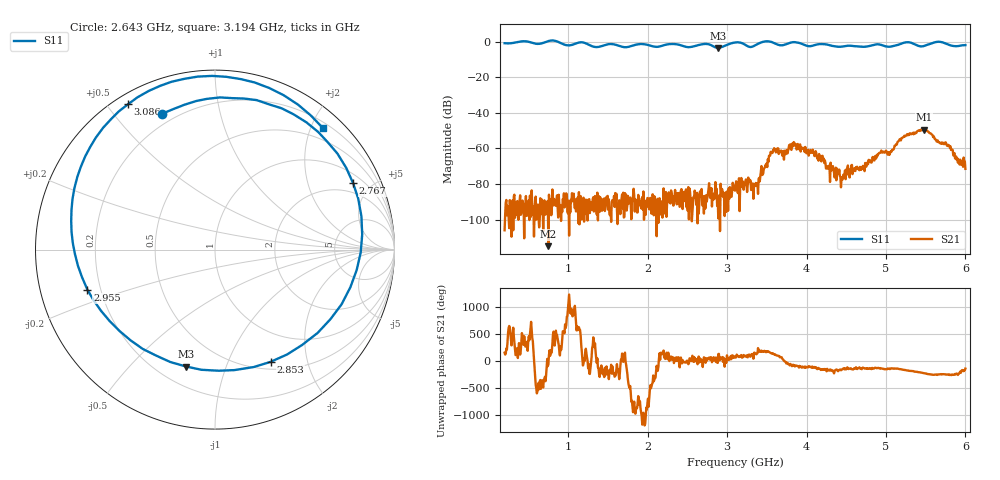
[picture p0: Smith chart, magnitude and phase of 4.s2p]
! NanoVNA-App by OneOfEleven et al v1.1.209 (+OD15)
! Date: 2024-07-30 15:11:33
! Start: 200MHz Stop: 6GHz Points: 801
! S-Parameter data: F S11 S21 S12 S22
# Hz S RI R 50
!  Frequency  S11_Real  S11_Imag  S21_Real  S21_Imag  S12_Real  S12_Imag  S22_Real  S22_Imag
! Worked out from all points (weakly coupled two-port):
!   801 points, 200 MHz to 6 GHz, reference 50 ohm
!   highest |S21| = -49.35 dB at 5.478 GHz (marker M1); lowest = -115.0 dB at 751 MHz (marker M2)
!   lowest |S11| = -3.5 dB at 2.89 GHz (marker M3), VSWR 5.08, Z = 15.5 - j36.7 ohm
!   |S11| at or under -10 dB: nowhere
!   S12 and S22 are empty: the file has one direction only
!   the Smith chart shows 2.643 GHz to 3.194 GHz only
!   S11 on the Smith chart (normalised r, x): 2.643 GHz: 0.15, +0.67; 2.767 GHz: 1.43, +3.90; 2.853 GHz: 0.59, -1.44; 2.955 GHz: 0.15, -0.15; 3.086 GHz: 0.04, +0.57; 3.194 GHz: 0.29, +2.19
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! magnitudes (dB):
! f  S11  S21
! 200 MHz  -0.8  -106.0
! 751 MHz  0.4  -115.0
! 1.171 GHz  -0.3  -99.9
! 2.136 GHz  -2.8  -101.8
! 2.643 GHz  -1.8  -96.7
! 2.767 GHz  -1.4  -83.1
! 2.853 GHz  -3.1  -78.9
! 2.89 GHz  -3.5  -99.3
! 2.955 GHz  -2.6  -84.8
! 3.086 GHz  -0.5  -83.0
! 3.1 GHz  -0.4  -83.7
! 3.194 GHz  -0.9  -78.7
! 3.383 GHz  -1.3  -80.2
! 3.579 GHz  -0.4  -61.1
! 3.847 GHz  -0.2  -56.8
! 4.072 GHz  -2.3  -62.5
! 4.449 GHz  -2.7  -77.4
! 5.036 GHz  -2.8  -62.0
! 5.239 GHz  -0.4  -53.2
! 5.478 GHz  -2.4  -49.3
! 5.782 GHz  -1.5  -57.9
! 6 GHz  -1.9  -71.5
